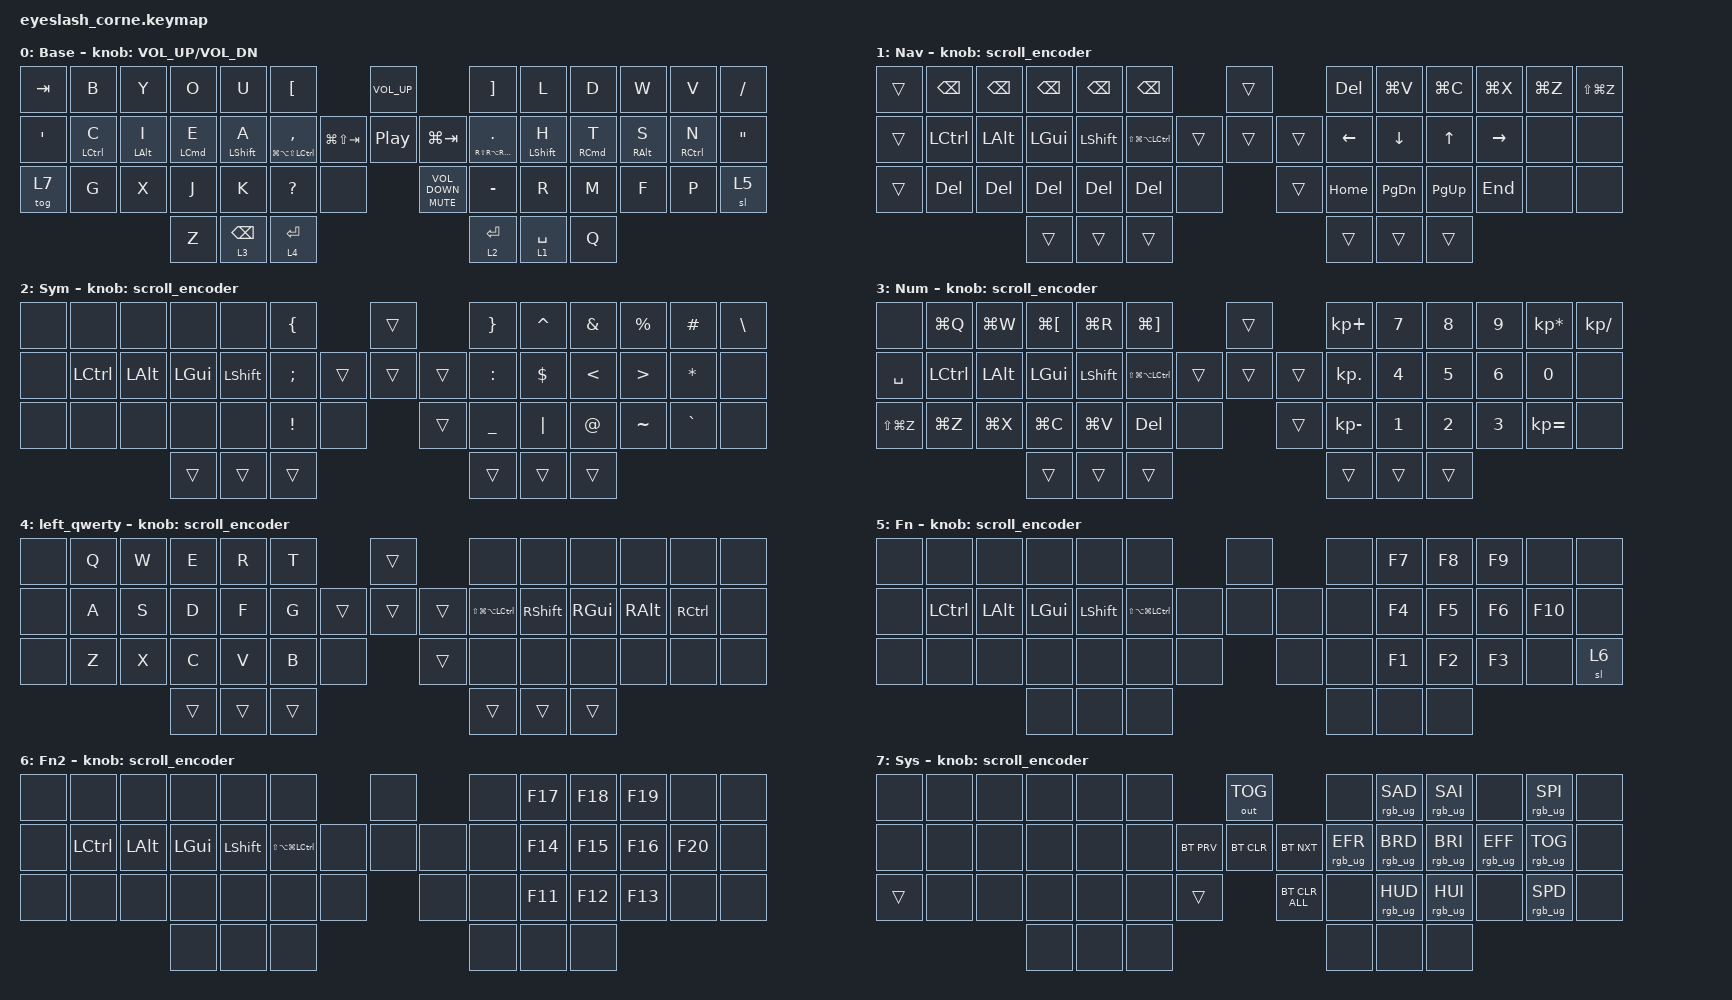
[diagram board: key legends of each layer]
#define ZMK_POINTING_DEFAULT_MOVE_VAL 1200  // 600
#define ZMK_POINTING_DEFAULT_SCRL_VAL 25   // 10

#include <input/processors.dtsi>
#include <zephyr/dt-bindings/input/input-event-codes.h>
#include <behaviors.dtsi>
#include <dt-bindings/zmk/bt.h>
#include <dt-bindings/zmk/keys.h>
#include <dt-bindings/zmk/outputs.h>
#include <dt-bindings/zmk/pointing.h>
#include <dt-bindings/zmk/rgb.h>

&mmv_input_listener { input-processors = <&zip_xy_scaler 2 1>; };

&msc_input_listener { input-processors = <&zip_scroll_scaler 2 1>; };

&msc {
    acceleration-exponent = <1>;      // 0
    time-to-max-speed-ms = <100>;       // 300
    delay-ms = <0>;                   // 0
};

&mmv {
    time-to-max-speed-ms = <500>;
    acceleration-exponent = <1>;
    trigger-period-ms = <16>;
};

/ {
    behaviors {
        td0: td0 {
            compatible = "zmk,behavior-tap-dance";
            display-name = "Shift/Caps Lock Tap Dance";
            #binding-cells = <0>;
            bindings = <&kp LEFT_SHIFT>, <&kp CAPS>;
        };

        hml: home_row_mod_left {
            compatible = "zmk,behavior-hold-tap";
            #binding-cells = <2>;
            flavor = "balanced";
            require-prior-idle-ms = <150>;
            tapping-term-ms = <200>;
            quick-tap-ms = <175>;
            bindings = <&kp>, <&kp>;

            hold-trigger-key-positions = <22 23 24 25 26>; // List of keys on the right side of the keyboard
            hold-trigger-on-release;
        };

        hmr: home_row_mod_right {
            compatible = "zmk,behavior-hold-tap";
            #binding-cells = <2>;
            flavor = "balanced";
            require-prior-idle-ms = <150>;
            tapping-term-ms = <200>;
            quick-tap-ms = <175>;
            bindings = <&kp>, <&kp>;

            hold-trigger-key-positions = <14 15 16 17 18>; // List of keys on the left side of the keyboard
            hold-trigger-on-release;
        };
    };

    rgb_encoder: rgb_encoder {
        compatible = "zmk,behavior-sensor-rotate";
        #sensor-binding-cells = <0>;
        bindings = <&rgb_ug RGB_BRI>, <&rgb_ug RGB_BRD>;
    };

    scroll_encoder: scroll_encoder {
        compatible = "zmk,behavior-sensor-rotate";
        #sensor-binding-cells = <0>;
        bindings = <&msc SCRL_DOWN>, <&msc SCRL_UP>;

        tap-ms = <100>;
    };

    combos {
        compatible = "zmk,combos";

        esc {
            bindings = <&kp ESC>;
            key-positions = <3 2>;
            layers = <0>;
            require-prior-idle-ms = <150>;
        };

        left-parenthesis {
            bindings = <&kp LEFT_PARENTHESIS>;
            key-positions = <3 4>;
            layers = <0>;
            require-prior-idle-ms = <150>;
        };

        right-parenthesis {
            bindings = <&kp RIGHT_PARENTHESIS>;
            key-positions = <8 9>;
            layers = <0>;
            require-prior-idle-ms = <150>;
        };
    };

    keymap {
        compatible = "zmk,keymap";

        default_layer {
            display-name = "Base";
            bindings = <
&kp TAB  &kp B         &kp Y            &kp O                &kp U              &kp LEFT_BRACKET                                               &kp C_VOLUME_UP                        &kp RIGHT_BRACKET                      &kp L              &kp D                 &kp W             &kp V                 &kp SLASH
&kp SQT  &hml LCTRL C  &hml LEFT_ALT I  &hml LEFT_COMMAND E  &hml LEFT_SHIFT A  &hml LG(LA(LS(LEFT_CONTROL))) COMMA           &kp LG(LS(TAB))  &kp C_PLAY_PAUSE          &kp LG(TAB)  &hmr RS(RA(RG(RIGHT_CONTROL))) PERIOD  &hmr LEFT_SHIFT H  &hmr RIGHT_COMMAND T  &hmr RIGHT_ALT S  &hmr RIGHT_CONTROL N  &kp DOUBLE_QUOTES
&tog 7   &kp G         &kp X            &kp J                &kp K              &kp QUESTION                         &none                     &mt C_MUTE C_VOLUME_DOWN               &kp MINUS                              &kp R              &kp M                 &kp F             &kp P                 &sl 5
                                        &kp Z                &lt 3 BACKSPACE    &lt 4 ENTER                                                                                           &lt 2 ENTER                            &lt 1 SPACE        &kp Q
            >;

            sensor-bindings = <&inc_dec_kp C_VOLUME_UP C_VOL_DN>;
        };

        layer_1 {
            display-name = "Nav";
            bindings = <
&trans  &kp BSPC   &kp BSPC  &kp BSPC  &kp BSPC   &kp BSPC                                &trans          &kp DEL   &kp LG(V)  &kp LG(C)  &kp LG(X)  &kp LG(Z)  &kp LS(LG(Z))
&trans  &kp LCTRL  &kp LALT  &kp LGUI  &kp LSHFT  &kp LS(LG(LA(LCTRL)))           &trans  &trans  &trans  &kp LEFT  &kp DOWN   &kp UP     &kp RIGHT  &none      &none
&trans  &kp DEL    &kp DEL   &kp DEL   &kp DEL    &kp DEL                &none            &trans          &kp HOME  &kp PG_DN  &kp PG_UP  &kp END    &none      &none
                             &trans    &trans     &trans                                                  &trans    &trans     &trans
            >;

            sensor-bindings = <&scroll_encoder>;
        };

        layer_2 {
            display-name = "Sym";
            bindings = <
&none  &none      &none     &none     &none      &kp LEFT_BRACE                    &trans          &kp RIGHT_BRACE  &kp CARET   &kp AMPERSAND  &kp PERCENT       &kp HASH      &kp BACKSLASH
&none  &kp LCTRL  &kp LALT  &kp LGUI  &kp LSHFT  &kp SEMI                  &trans  &trans  &trans  &kp COLON        &kp DOLLAR  &kp LESS_THAN  &kp GREATER_THAN  &kp ASTERISK  &none
&none  &none      &none     &none     &none      &kp EXCLAMATION  &none            &trans          &kp UNDERSCORE   &kp PIPE    &kp AT_SIGN    &kp TILDE         &kp GRAVE     &none
                            &trans    &trans     &trans                                            &trans           &trans      &trans
            >;

            sensor-bindings = <&scroll_encoder>;
        };

        layer_3 {
            display-name = "Num";
            bindings = <
&none          &kp LG(Q)  &kp LG(W)  &kp LG(LEFT_BRACKET)  &kp LG(R)  &kp LG(RIGHT_BRACKET)                   &trans          &kp KP_PLUS   &kp NUMBER_7  &kp NUMBER_8  &kp NUMBER_9  &kp KP_ASTERISK  &kp KP_DIVIDE
&kp SPACE      &kp LCTRL  &kp LALT   &kp LGUI              &kp LSHFT  &kp LS(LG(LA(LCTRL)))           &trans  &trans  &trans  &kp KP_DOT    &kp NUMBER_4  &kp NUMBER_5  &kp NUMBER_6  &kp NUMBER_0     &none
&kp LS(LG(Z))  &kp LG(Z)  &kp LG(X)  &kp LG(C)             &kp LG(V)  &kp DELETE             &none            &trans          &kp KP_MINUS  &kp NUMBER_1  &kp NUMBER_2  &kp NUMBER_3  &kp KP_EQUAL     &none
                                     &trans                &trans     &trans                                                  &trans        &trans        &trans
            >;

            sensor-bindings = <&scroll_encoder>;
        };

        layer_4 {
            display-name = "left_qwerty";
            bindings = <
&none  &kp Q  &kp W  &kp E   &kp R   &kp T                    &trans          &none                  &none      &none     &none     &none      &none
&none  &kp A  &kp S  &kp D   &kp F   &kp G            &trans  &trans  &trans  &kp LS(LG(LA(LCTRL)))  &kp RSHFT  &kp RGUI  &kp RALT  &kp RCTRL  &none
&none  &kp Z  &kp X  &kp C   &kp V   &kp B   &none            &trans          &none                  &none      &none     &none     &none      &none
                     &trans  &trans  &trans                                   &trans                 &trans     &trans
            >;

            sensor-bindings = <&scroll_encoder>;
        };

        layer_5 {
            bindings = <
&none  &none      &none     &none     &none      &none                                         &none         &none  &kp F7  &kp F8  &kp F9  &none    &none
&none  &kp LCTRL  &kp LALT  &kp LGUI  &kp LSHFT  &kp LS(LA(LG(LEFT_CONTROL)))           &none  &none  &none  &none  &kp F4  &kp F5  &kp F6  &kp F10  &none
&none  &none      &none     &none     &none      &none                         &none           &none         &none  &kp F1  &kp F2  &kp F3  &none    &sl 6
                            &none     &none      &none                                                       &none  &none   &none
            >;

            label = "Fn";
            sensor-bindings = <&scroll_encoder>;
        };

        layer_6 {
            bindings = <
&none  &none      &none     &none     &none      &none                                         &none         &none  &kp F17  &kp F18  &kp F19  &none    &none
&none  &kp LCTRL  &kp LALT  &kp LGUI  &kp LSHFT  &kp LS(LA(LG(LEFT_CONTROL)))           &none  &none  &none  &none  &kp F14  &kp F15  &kp F16  &kp F20  &none
&none  &none      &none     &none     &none      &none                         &none           &none         &none  &kp F11  &kp F12  &kp F13  &none    &none
                            &none     &none      &none                                                       &none  &none    &none
            >;

            label = "Fn2";
            sensor-bindings = <&scroll_encoder>;
        };

        layer_7 {
            bindings = <
&none   &none  &none  &none  &none  &none                        &out OUT_TOG                &none            &rgb_ug RGB_SAD  &rgb_ug RGB_SAI  &none            &rgb_ug RGB_SPI  &none
&none   &none  &none  &none  &none  &none            &bt BT_PRV  &bt BT_CLR      &bt BT_NXT  &rgb_ug RGB_EFR  &rgb_ug RGB_BRD  &rgb_ug RGB_BRI  &rgb_ug RGB_EFF  &rgb_ug RGB_TOG  &none
&trans  &none  &none  &none  &none  &none  &trans                &bt BT_CLR_ALL              &none            &rgb_ug RGB_HUD  &rgb_ug RGB_HUI  &none            &rgb_ug RGB_SPD  &none
                      &none  &none  &none                                                    &none            &none            &none
            >;

            label = "Sys";
            sensor-bindings = <&scroll_encoder>;
        };
    };
};
